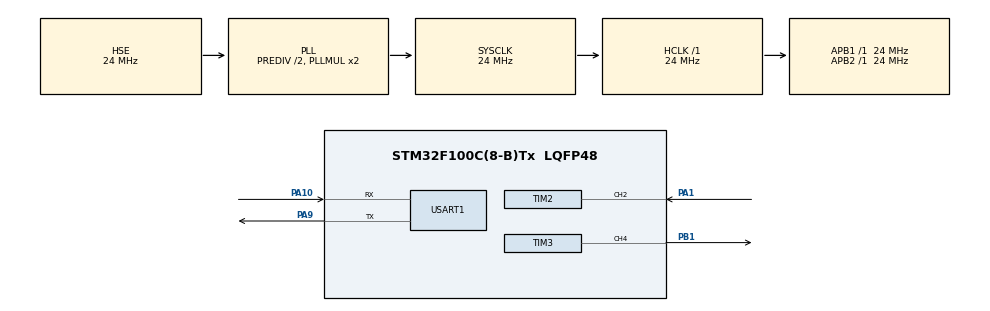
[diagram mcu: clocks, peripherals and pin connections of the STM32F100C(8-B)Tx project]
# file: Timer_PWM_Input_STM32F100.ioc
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Mcu.Family=STM32F1
Mcu.Name=STM32F100C(8-B)Tx
Mcu.Package=LQFP48
NVIC.PriorityGroup=NVIC_PRIORITYGROUP_4
NVIC.TIM2_IRQn=true\:1\:0\:true\:false\:true\:true\:true
NVIC.TIM3_IRQn=true\:1\:0\:true\:false\:true\:true\:true
PA1.Signal=S_TIM2_CH2
PA10.Mode=Asynchronous
PA10.Signal=USART1_RX
PA13.Mode=Serial_Wire
PA13.Signal=SYS_JTMS-SWDIO
PA14.Mode=Serial_Wire
PA14.Signal=SYS_JTCK-SWCLK
PA9.Mode=Asynchronous
PA9.Signal=USART1_TX
PB1.Signal=S_TIM3_CH4
PD0-OSC_IN.Mode=HSE-External-Oscillator
PD0-OSC_IN.Signal=RCC_OSC_IN
PD1-OSC_OUT.Mode=HSE-External-Oscillator
PD1-OSC_OUT.Signal=RCC_OSC_OUT
ProjectManager.HeapSize=0x200
ProjectManager.StackSize=0x400
ProjectManager.TargetToolchain=STM32CubeIDE
RCC.AHBFreq_Value=24000000
RCC.APB1Freq_Value=24000000
RCC.APB1TimFreq_Value=24000000
RCC.APB2Freq_Value=24000000
RCC.APB2TimFreq_Value=24000000
RCC.HCLKFreq_Value=24000000
RCC.HSEDivPLL=RCC_HSE_PREDIV_DIV2
RCC.HSE_VALUE=24000000
RCC.PLLSource=RCC_PLLSOURCE_HSE
RCC.SYSCLKFreq_VALUE=24000000
RCC.SYSCLKSource=RCC_SYSCLKSOURCE_PLLCLK
SH.S_TIM2_CH2.0=TIM2_CH2,PWM_Input_2
SH.S_TIM3_CH4.0=TIM3_CH4,PWM Generation4 CH4
TIM2.Period=65535
TIM3.AutoReloadPreload=TIM_AUTORELOAD_PRELOAD_ENABLE
TIM3.Channel-PWM\ Generation4\ CH4=TIM_CHANNEL_4
TIM3.Period=1000-1
TIM3.Prescaler=24-1
TIM3.Pulse-PWM\ Generation4\ CH4=500
TIM4.Period=65535
USART1.VirtualMode=VM_ASYNC
VP_TIM3_VS_ClockSourceINT.Mode=Internal
VP_TIM4_VS_ClockSourceINT.Mode=Internal
board=custom

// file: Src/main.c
/* USER CODE BEGIN Header */
/**
  ******************************************************************************
  * @file           : main.c
  * @brief          : Main program body
  ******************************************************************************
  * @attention
  *
  * <h2><center>&copy; Copyright (c) 2020 STMicroelectronics.
  * All rights reserved.</center></h2>
  *
  * This software component is licensed by ST under BSD 3-Clause license,
  * the "License"; You may not use this file except in compliance with the
  * License. You may obtain a copy of the License at:
  *                        opensource.org/licenses/BSD-3-Clause
  *
  ******************************************************************************
  */
/* USER CODE END Header */

#include "main.h"

TIM_HandleTypeDef htim2;
TIM_HandleTypeDef htim3;
TIM_HandleTypeDef htim4;

UART_HandleTypeDef huart1;

void SystemClock_Config(void);
static void MX_GPIO_Init(void);
static void MX_TIM2_Init(void);
static void MX_TIM3_Init(void);
static void MX_TIM4_Init(void);
static void MX_USART1_UART_Init(void);

/* USER CODE BEGIN 0 */
volatile static uint32_t tmp1 = 0, tmp2 = 0;//volatile 该变量随时可能发生变

#ifdef __GNUC__
/* With GCC, small printf (option LD Linker->Libraries->Small printf
   set to 'Yes') calls __io_putchar() */
#define PUTCHAR_PROTOTYPE int __io_putchar(int ch)
#else
#define PUTCHAR_PROTOTYPE int fputc(int ch, FILE *f)
#endif /* __GNUC__ */

PUTCHAR_PROTOTYPE
{
    HAL_UART_Transmit(&huart1 , (uint8_t *)&ch, 1, 0xFFFF);
    return ch;
}

/* USER CODE END 0 */

int main(void)
{
  /* USER CODE BEGIN 1 */
  //float duty,freq;

  /* USER CODE END 1 */

  /* MCU Configuration--------------------------------------------------------*/

  /* Reset of all peripherals, Initializes the Flash interface and the Systick. */
  HAL_Init();

  /* Configure the system clock */
  SystemClock_Config();

  /* Initialize all configured peripherals */
  MX_GPIO_Init();
  MX_TIM2_Init();
  MX_TIM3_Init();
  MX_TIM4_Init();
  MX_USART1_UART_Init();
  /* USER CODE BEGIN 2 */

  HAL_TIM_PWM_Start(&htim3,TIM_CHANNEL_4);//start PWM output

  HAL_TIM_IC_Start_IT(&htim2, TIM_CHANNEL_1);
  HAL_TIM_IC_Start_IT(&htim2, TIM_CHANNEL_2);
  /* USER CODE END 2 */

  /* Infinite loop */
  /* USER CODE BEGIN WHILE */
  while (1)
  {
	  float duty=0.0;
	  //float freq=0.0;
	  uint8_t pDuty[]="Duty is:";
	  uint8_t pFreq[]="Freq is:";
	  uint8_t pReturn[]={'\n'};
	  if (tmp2 == 0)
	  {
		  duty = 0;
		  //freq = 0;
	  }
	  else
	  {
		  duty = (tmp1*100)/tmp2 + 0.1f;
		  //freq = 90000000.0f / tmp1;
	  }
	  printf("tmp1: %d \r\n",tmp1);
	  printf("tmp2: %d \r\n",tmp2);
	  printf("duty: %f \r\n",duty);
	 // uint8_t pData[10]="";
	 // sprintf(pData,"%.1f",duty);
	 //pData[sizeof(pData)+1]='K';
	 // HAL_UART_Transmit(&huart1,(uint8_t*)pDuty,sizeof(pDuty),10);//
	 // HAL_UART_Transmit(&huart1,(uint8_t*)pData,sizeof(pData),10);//
	  //HAL_UART_Transmit(&huart1,(uint8_t*)&"kd",2,10);//

	  //sprintf(pData,"%.1f",freq);
	  //HAL_UART_Transmit(&huart1,(uint8_t*)pFreq,sizeof(pFreq),10);//
	 // HAL_UART_Transmit(&huart1,(uint8_t*)pData,sizeof(pData),10);//
	  //HAL_UART_Transmit(&huart1,(uint8_t*)&"gl",2,10);//
	  //float tmp=1000.0;
	  //sprintf(pData,"%.1f",tmp);
	  //HAL_UART_Transmit(&huart1,(uint8_t*)pData,sizeof(pData),10);
    /* USER CODE END WHILE */

  }
}

void SystemClock_Config(void)
{
  RCC_OscInitTypeDef RCC_OscInitStruct = {0};
  RCC_ClkInitTypeDef RCC_ClkInitStruct = {0};

  /** Initializes the CPU, AHB and APB busses clocks
  */
  RCC_OscInitStruct.OscillatorType = RCC_OSCILLATORTYPE_HSE;
  RCC_OscInitStruct.HSEState = RCC_HSE_ON;
  RCC_OscInitStruct.HSEPredivValue = RCC_HSE_PREDIV_DIV2;
  RCC_OscInitStruct.PLL.PLLState = RCC_PLL_ON;
  RCC_OscInitStruct.PLL.PLLSource = RCC_PLLSOURCE_HSE;
  RCC_OscInitStruct.PLL.PLLMUL = RCC_PLL_MUL2;
  if (HAL_RCC_OscConfig(&RCC_OscInitStruct) != HAL_OK)
  {
    Error_Handler();
  }
  /** Initializes the CPU, AHB and APB busses clocks
  */
  RCC_ClkInitStruct.ClockType = RCC_CLOCKTYPE_HCLK|RCC_CLOCKTYPE_SYSCLK
                              |RCC_CLOCKTYPE_PCLK1|RCC_CLOCKTYPE_PCLK2;
  RCC_ClkInitStruct.SYSCLKSource = RCC_SYSCLKSOURCE_PLLCLK;
  RCC_ClkInitStruct.AHBCLKDivider = RCC_SYSCLK_DIV1;
  RCC_ClkInitStruct.APB1CLKDivider = RCC_HCLK_DIV1;
  RCC_ClkInitStruct.APB2CLKDivider = RCC_HCLK_DIV1;

  if (HAL_RCC_ClockConfig(&RCC_ClkInitStruct, FLASH_LATENCY_0) != HAL_OK)
  {
    Error_Handler();
  }
}

static void MX_TIM2_Init(void)
{

  TIM_SlaveConfigTypeDef sSlaveConfig = {0};
  TIM_IC_InitTypeDef sConfigIC = {0};
  TIM_MasterConfigTypeDef sMasterConfig = {0};

  htim2.Instance = TIM2;
  htim2.Init.Prescaler = 0;
  htim2.Init.CounterMode = TIM_COUNTERMODE_UP;
  htim2.Init.Period = 65535;
  htim2.Init.ClockDivision = TIM_CLOCKDIVISION_DIV1;
  htim2.Init.AutoReloadPreload = TIM_AUTORELOAD_PRELOAD_DISABLE;
  if (HAL_TIM_IC_Init(&htim2) != HAL_OK)
  {
    Error_Handler();
  }
  sSlaveConfig.SlaveMode = TIM_SLAVEMODE_RESET;
  sSlaveConfig.InputTrigger = TIM_TS_TI2FP2;
  sSlaveConfig.TriggerPolarity = TIM_INPUTCHANNELPOLARITY_FALLING;
  sSlaveConfig.TriggerPrescaler = TIM_ICPSC_DIV1;
  sSlaveConfig.TriggerFilter = 0;
  if (HAL_TIM_SlaveConfigSynchro(&htim2, &sSlaveConfig) != HAL_OK)
  {
    Error_Handler();
  }
  sConfigIC.ICPolarity = TIM_INPUTCHANNELPOLARITY_RISING;
  sConfigIC.ICSelection = TIM_ICSELECTION_INDIRECTTI;
  sConfigIC.ICPrescaler = TIM_ICPSC_DIV1;
  sConfigIC.ICFilter = 0;
  if (HAL_TIM_IC_ConfigChannel(&htim2, &sConfigIC, TIM_CHANNEL_1) != HAL_OK)
  {
    Error_Handler();
  }
  sConfigIC.ICPolarity = TIM_INPUTCHANNELPOLARITY_FALLING;
  sConfigIC.ICSelection = TIM_ICSELECTION_DIRECTTI;
  if (HAL_TIM_IC_ConfigChannel(&htim2, &sConfigIC, TIM_CHANNEL_2) != HAL_OK)
  {
    Error_Handler();
  }
  sMasterConfig.MasterOutputTrigger = TIM_TRGO_RESET;
  sMasterConfig.MasterSlaveMode = TIM_MASTERSLAVEMODE_DISABLE;
  if (HAL_TIMEx_MasterConfigSynchronization(&htim2, &sMasterConfig) != HAL_OK)
  {
    Error_Handler();
  }

}

static void MX_TIM3_Init(void)
{

  TIM_ClockConfigTypeDef sClockSourceConfig = {0};
  TIM_MasterConfigTypeDef sMasterConfig = {0};
  TIM_OC_InitTypeDef sConfigOC = {0};

  htim3.Instance = TIM3;
  htim3.Init.Prescaler = 23;
  htim3.Init.CounterMode = TIM_COUNTERMODE_UP;
  htim3.Init.Period = 999;
  htim3.Init.ClockDivision = TIM_CLOCKDIVISION_DIV1;
  htim3.Init.AutoReloadPreload = TIM_AUTORELOAD_PRELOAD_ENABLE;
  if (HAL_TIM_Base_Init(&htim3) != HAL_OK)
  {
    Error_Handler();
  }
  sClockSourceConfig.ClockSource = TIM_CLOCKSOURCE_INTERNAL;
  if (HAL_TIM_ConfigClockSource(&htim3, &sClockSourceConfig) != HAL_OK)
  {
    Error_Handler();
  }
  if (HAL_TIM_PWM_Init(&htim3) != HAL_OK)
  {
    Error_Handler();
  }
  sMasterConfig.MasterOutputTrigger = TIM_TRGO_RESET;
  sMasterConfig.MasterSlaveMode = TIM_MASTERSLAVEMODE_DISABLE;
  if (HAL_TIMEx_MasterConfigSynchronization(&htim3, &sMasterConfig) != HAL_OK)
  {
    Error_Handler();
  }
  sConfigOC.OCMode = TIM_OCMODE_PWM1;
  sConfigOC.Pulse = 500;
  sConfigOC.OCPolarity = TIM_OCPOLARITY_HIGH;
  sConfigOC.OCFastMode = TIM_OCFAST_DISABLE;
  if (HAL_TIM_PWM_ConfigChannel(&htim3, &sConfigOC, TIM_CHANNEL_4) != HAL_OK)
  {
    Error_Handler();
  }
  HAL_TIM_MspPostInit(&htim3);

}

static void MX_TIM4_Init(void)
{

  TIM_ClockConfigTypeDef sClockSourceConfig = {0};
  TIM_MasterConfigTypeDef sMasterConfig = {0};

  htim4.Instance = TIM4;
  htim4.Init.Prescaler = 0;
  htim4.Init.CounterMode = TIM_COUNTERMODE_UP;
  htim4.Init.Period = 65535;
  htim4.Init.ClockDivision = TIM_CLOCKDIVISION_DIV1;
  htim4.Init.AutoReloadPreload = TIM_AUTORELOAD_PRELOAD_DISABLE;
  if (HAL_TIM_Base_Init(&htim4) != HAL_OK)
  {
    Error_Handler();
  }
  sClockSourceConfig.ClockSource = TIM_CLOCKSOURCE_INTERNAL;
  if (HAL_TIM_ConfigClockSource(&htim4, &sClockSourceConfig) != HAL_OK)
  {
    Error_Handler();
  }
  sMasterConfig.MasterOutputTrigger = TIM_TRGO_RESET;
  sMasterConfig.MasterSlaveMode = TIM_MASTERSLAVEMODE_DISABLE;
  if (HAL_TIMEx_MasterConfigSynchronization(&htim4, &sMasterConfig) != HAL_OK)
  {
    Error_Handler();
  }

}

static void MX_USART1_UART_Init(void)
{

  huart1.Instance = USART1;
  huart1.Init.BaudRate = 115200;
  huart1.Init.WordLength = UART_WORDLENGTH_8B;
  huart1.Init.StopBits = UART_STOPBITS_1;
  huart1.Init.Parity = UART_PARITY_NONE;
  huart1.Init.Mode = UART_MODE_TX_RX;
  huart1.Init.HwFlowCtl = UART_HWCONTROL_NONE;
  huart1.Init.OverSampling = UART_OVERSAMPLING_16;
  if (HAL_UART_Init(&huart1) != HAL_OK)
  {
    Error_Handler();
  }

}

static void MX_GPIO_Init(void)
{

  /* GPIO Ports Clock Enable */
  __HAL_RCC_GPIOD_CLK_ENABLE();
  __HAL_RCC_GPIOA_CLK_ENABLE();
  __HAL_RCC_GPIOB_CLK_ENABLE();

}

/* USER CODE BEGIN 4 */

//timer callback function
void HAL_TIM_IC_CaptureCallback(TIM_HandleTypeDef *htim)
{
	double duty=0;
	double freq=0;
    if (htim->Channel == HAL_TIM_ACTIVE_CHANNEL_1)
    {
        tmp1 = HAL_TIM_ReadCapturedValue(&htim2, TIM_CHANNEL_1);
        //HAL_UART_Transmit(&huart1,(uint8_t*)&"kd",2,10);//
    }
    else if (htim->Channel == HAL_TIM_ACTIVE_CHANNEL_2)
    {
        tmp2 = HAL_TIM_ReadCapturedValue(&htim2, TIM_CHANNEL_2);//占空
       // HAL_UART_Transmit(&huart1,(uint8_t*)&"gl",2,10);//
    }
}
/* USER CODE END 4 */

void Error_Handler(void)
{
}

/************************ (C) COPYRIGHT STMicroelectronics *****END OF FILE****/
